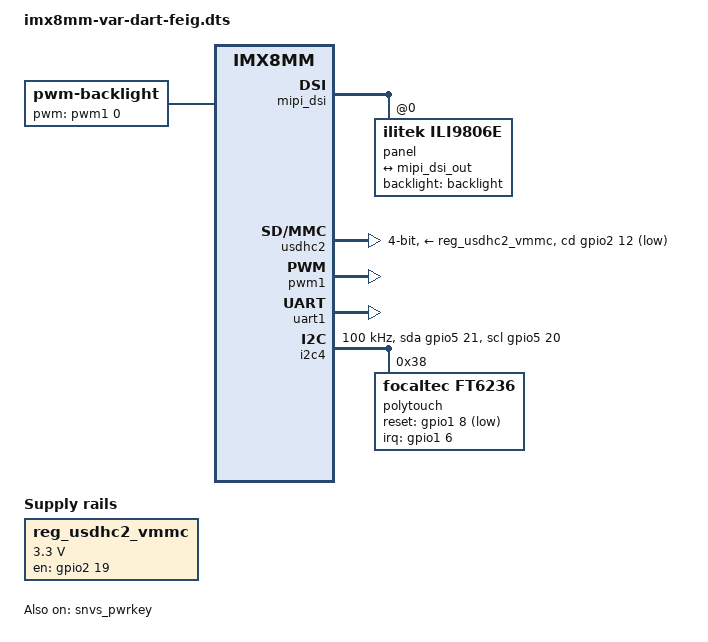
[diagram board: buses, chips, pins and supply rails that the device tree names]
// SPDX-License-Identifier: (GPL-2.0+ OR MIT)
#include "imx8mm-var-dart.dtsi"

/ {
	chosen {
		stdout-path = &uart1;
	};

	backlight: backlight {
		compatible = "pwm-backlight";
		pwms = <&pwm1 0 1000000 0>;
		brightness-levels = < 0  1  2  3  4  5  6  7  8  9
				     10 11 12 13 14 15 16 17 18 19
				     20 21 22 23 24 25 26 27 28 29
				     30 31 32 33 34 35 36 37 38 39
				     40 41 42 43 44 45 46 47 48 49
				     50 51 52 53 54 55 56 57 58 59
				     60 61 62 63 64 65 66 67 68 69
				     70 71 72 73 74 75 76 77 78 79
				     80 81 82 83 84 85 86 87 88 89
				     90 91 92 93 94 95 96 97 98 99
				    100>;
		default-brightness-level = <80>;
		status = "okay";
	};

	reg_usdhc2_vmmc: regulator-usdhc2 {
		compatible = "regulator-fixed";
		pinctrl-names = "default";
		pinctrl-0 = <&pinctrl_reg_usdhc2_vmmc>;
		regulator-name = "VSD_3V3";
		regulator-min-microvolt = <3300000>;
		regulator-max-microvolt = <3300000>;
		gpio = <&gpio2 19 GPIO_ACTIVE_HIGH>;
		off-on-delay = <20000>;
		enable-active-high;
	};
};

&i2c1 {
	/delete-node/ sn65dsi84@2c;
};

&mipi_dsi {
	panel@1 {
		compatible = "ilitek, ili9806e", "simple-panel";
		reg = <0>;
		backlight = <&backlight>;
/*		pinctrl-0 = <&pinctrl_mipi_dsi_en>;*/
/*		reset-gpio = <&gpio1 11 GPIO_ACTIVE_LOW>;*/
		dsi-lanes = <2>;		// 2 lanes
		video-mode = <2>;	/* 0: burst mode
					 * 1: non-burst mode with sync event
					 * 2: non-burst mode with sync pulse
					 */
		status = "okay";
		port {
			dsi_lvds_bridge_in: endpoint {
				remote-endpoint = <&mipi_dsi_out>;
			};
		};
	};
};

/* SD */
&usdhc2 {
	pinctrl-names = "default", "state_100mhz", "state_200mhz";
	pinctrl-0 = <&pinctrl_usdhc2>, <&pinctrl_usdhc2_gpio>;
	pinctrl-1 = <&pinctrl_usdhc2_100mhz>, <&pinctrl_usdhc2_gpio>;
	pinctrl-2 = <&pinctrl_usdhc2_200mhz>, <&pinctrl_usdhc2_gpio>;
	cd-gpios = <&gpio2 12 GPIO_ACTIVE_LOW>;
	bus-width = <4>;
	vmmc-supply = <&reg_usdhc2_vmmc>;
	status = "okay";
};

&pwm1 {
	status = "okay";
	pinctrl-names = "default";
	pinctrl-0 = <&pinctrl_pwm1>;
};

&snvs_pwrkey {
	status = "okay";
};

&snvs_rtc {
	status = "disabled";
};

/* Console */
&uart1 {
	pinctrl-names = "default";
	pinctrl-0 = <&pinctrl_uart1>;
	status = "okay";
};

&i2c4 {
	clock-frequency = <100000>;
	pinctrl-names = "default", "gpio";
	pinctrl-0 = <&pinctrl_i2c4>;
	pinctrl-1 = <&pinctrl_i2c4_gpio>;
	scl-gpios = <&gpio5 20 GPIO_ACTIVE_HIGH>;
	sda-gpios = <&gpio5 21 GPIO_ACTIVE_HIGH>;
	status = "okay";

	polytouch: ft6336g@38 {
		compatible = "focaltec,ft6236";
		reg = <0x38>;
		pinctrl-names = "default";
		pinctrl-0 = <&pinctrl_ft6336>;
		interrupt-parent = <&gpio1>;
		interrupts = <6 IRQ_TYPE_EDGE_FALLING>;
		reset-gpios = <&gpio1 8 GPIO_ACTIVE_LOW>;
	};
};

&iomuxc {
	pinctrl_ft6336: ft6336grp {
		fsl,pins = <
			MX8MM_IOMUXC_GPIO1_IO06_GPIO1_IO6 	0xc1
			MX8MM_IOMUXC_GPIO1_IO08_GPIO1_IO8	0xc1
		>;
	};
/*
	pinctrl_mipi_dsi_en: mipi_dsi_en {
		fsl,pins = <
			MX8MM_IOMUXC_GPIO1_IO11_GPIO1_IO11 	0xc1 // RST/DSI_EN 
			MX8MM_IOMUXC_GPIO1_IO12_GPIO1_IO12 	0xc1 // FMARK 
		>;
	};
*/
	pinctrl_i2c4: i2c4grp {
		fsl,pins = <
			MX8MM_IOMUXC_I2C4_SCL_I2C4_SCL			0x400001c3
			MX8MM_IOMUXC_I2C4_SDA_I2C4_SDA			0x400001c3
		>;
	};

	pinctrl_i2c4_gpio: i2c4grp-gpio {
		fsl,pins = <
			MX8MM_IOMUXC_I2C4_SCL_GPIO5_IO20		0x1c3
			MX8MM_IOMUXC_I2C4_SDA_GPIO5_IO21		0x1c3
		>;
	};

	pinctrl_uart1: uart1grp {
		fsl,pins = <
			MX8MM_IOMUXC_UART1_RXD_UART1_DCE_RX		0x140
			MX8MM_IOMUXC_UART1_TXD_UART1_DCE_TX		0x140
		>;
	};

	pinctrl_reg_usdhc2_vmmc: regusdhc2vmmc {
		fsl,pins = <
			MX8MM_IOMUXC_SD2_RESET_B_GPIO2_IO19		0xc1
		>;
	};

	pinctrl_usdhc2: usdhc2grp {
		fsl,pins = <
			MX8MM_IOMUXC_SD2_CLK_USDHC2_CLK			0x190
			MX8MM_IOMUXC_SD2_CMD_USDHC2_CMD			0x1d0
			MX8MM_IOMUXC_SD2_DATA0_USDHC2_DATA0		0x1d0
			MX8MM_IOMUXC_SD2_DATA1_USDHC2_DATA1		0x1d0
			MX8MM_IOMUXC_SD2_DATA2_USDHC2_DATA2		0x1d0
			MX8MM_IOMUXC_SD2_DATA3_USDHC2_DATA3		0x1d0
			MX8MM_IOMUXC_GPIO1_IO04_USDHC2_VSELECT		0x1d0
		>;
	};

	pinctrl_usdhc2_100mhz: usdhc2grp100mhz {
		fsl,pins = <
			MX8MM_IOMUXC_SD2_CLK_USDHC2_CLK			0x194
			MX8MM_IOMUXC_SD2_CMD_USDHC2_CMD			0x1d4
			MX8MM_IOMUXC_SD2_DATA0_USDHC2_DATA0		0x1d4
			MX8MM_IOMUXC_SD2_DATA1_USDHC2_DATA1		0x1d4
			MX8MM_IOMUXC_SD2_DATA2_USDHC2_DATA2		0x1d4
			MX8MM_IOMUXC_SD2_DATA3_USDHC2_DATA3		0x1d4
			MX8MM_IOMUXC_GPIO1_IO04_USDHC2_VSELECT		0x1d0
		>;
	};

	pinctrl_usdhc2_200mhz: usdhc2grp200mhz {
		fsl,pins = <
			MX8MM_IOMUXC_SD2_CLK_USDHC2_CLK			0x196
			MX8MM_IOMUXC_SD2_CMD_USDHC2_CMD			0x1d6
			MX8MM_IOMUXC_SD2_DATA0_USDHC2_DATA0		0x1d6
			MX8MM_IOMUXC_SD2_DATA1_USDHC2_DATA1		0x1d6
			MX8MM_IOMUXC_SD2_DATA2_USDHC2_DATA2		0x1d6
			MX8MM_IOMUXC_SD2_DATA3_USDHC2_DATA3		0x1d6
			MX8MM_IOMUXC_GPIO1_IO04_USDHC2_VSELECT		0x1d0
		>;
	};

	pinctrl_usdhc2_gpio: usdhc2grpgpio {
		fsl,pins = <
			MX8MM_IOMUXC_SD2_CD_B_GPIO2_IO12		0xc1
		>;
	};

};

